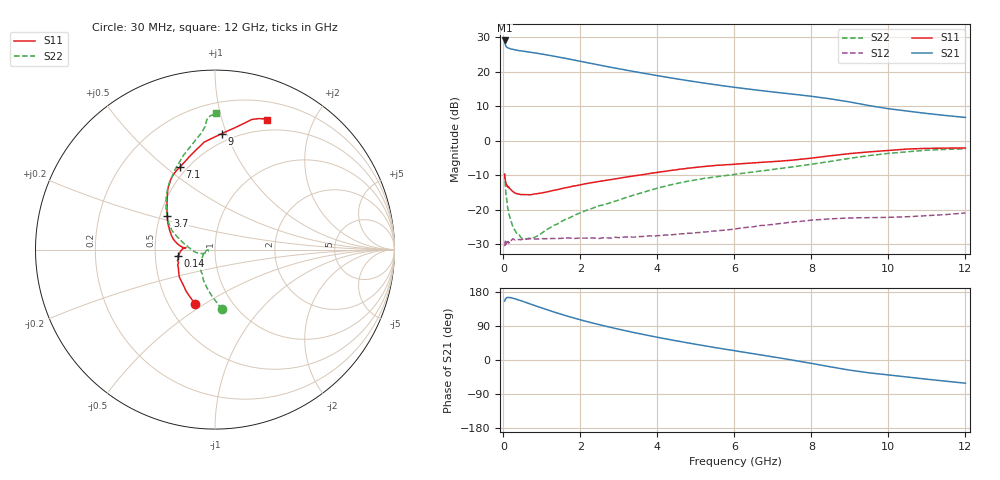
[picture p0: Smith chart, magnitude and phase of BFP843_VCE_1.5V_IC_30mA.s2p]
! Infineon Technologies  Discrete & RF Semiconductors
! BFP843
! VCE =  1.5 V,  IC =  30 mA
! Common Emitter S-Parameters:  Aug 2013
# GHz  S  MA  R  50
!  f  S11  S21  S12  S22
! GHz  MAG  ANG  MAG  ANG  MAG  ANG  MAG  ANG
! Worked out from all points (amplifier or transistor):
!   103 points, 30 MHz to 12 GHz, reference 50 ohm
!   highest |S21| = 29.0 dB at 30 MHz (marker M1)
!   |S21| within 3 dB of that: start of sweep to 446.8 MHz
!   unconditionally stable (mu >= 1): 78.23 MHz to 86.07 MHz; 91.67 MHz to 10.69 GHz
!   at 400 MHz: K = 1.03, MAG = 26.3 dB, |S12| = -28.7 dB
!   at 3.7 GHz: K = 1.35, MAG = 20.0 dB, |S12| = -27.8 dB
!   at 12 GHz: K = 0.86, MSG = 13.9 dB, |S12| = -21.0 dB
!   S11 on the Smith chart (normalised r, x): 30 MHz: 0.67, -0.46; 140 MHz: 0.65, -0.05; 3.7 GHz: 0.55, +0.23; 7.1 GHz: 0.46, +0.56; 9 GHz: 0.43, +0.96; 12 GHz: 0.38, +1.40
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0.03  0.323 -110.3  28.29 155.4  0.0294 23.3  0.3349 -83.3
0.04  0.2826 -124.6  25.83 157.7  0.031 21.3  0.2593 -93.9
0.05  0.2633 -132.7  24.59 160.8  0.0358 15.7  0.221 -101.2
0.07  0.2368 -148.8  23.07 163.2  0.0334 10.9  0.1552 -116.8
0.1  0.2149 -160.9  22.34 164.8  0.0332 11.6  0.1151 -131.0
0.14  0.2117 -170.6  21.82 165.0  0.0325 10.0  0.0866 -146.0
0.3  0.1732 177.4  20.66 161.5  0.0361 7.3  0.0497 -172.6
0.8  0.1677 177.0  18.72 144.2  0.0373 3.8  0.0392 -166.5
1.1  0.1787 176.1  17.56 133.8  0.0377 3.9  0.0502 -162.2
1.6  0.2057 172.1  15.6 117.6  0.0384 3.9  0.0713 -161.9
2.1  0.2345 166.7  13.73 103.3  0.0384 4.9  0.0945 -168.4
2.5  0.2566 161.7  12.41 93.0  0.038 6.4  0.1141 -173.9
2.9  0.2781 156.2  11.24 83.4  0.0396 6.8  0.132 179.6
3.7  0.3258 144.7  9.34 66.0  0.0409 9.8  0.1823 167.6
4.1  0.3523 139.4  8.544 58.0  0.0419 10.9  0.2108 162.8
5  0.4087 130.4  7.102 41.4  0.0461 12.6  0.2698 154.8
6.1  0.4579 122.9  5.825 22.9  0.0531 13.2  0.3282 144.6
7.1  0.4996 113.2  4.993 6.6  0.0619 10.9  0.3877 134.7
8.5  0.6022 95.7  4.018 -18.1  0.0732 1.9  0.4991 116.4
9  0.6473 86.7  3.625 -26.8  0.0755 -2.5  0.5533 108.6
10.5  0.7535 74.2  2.671 -45.0  0.0786 -9.9  0.6876 94.6
12  0.7785 68.3  2.164 -61.2  0.0891 -16.3  0.7584 89.7
